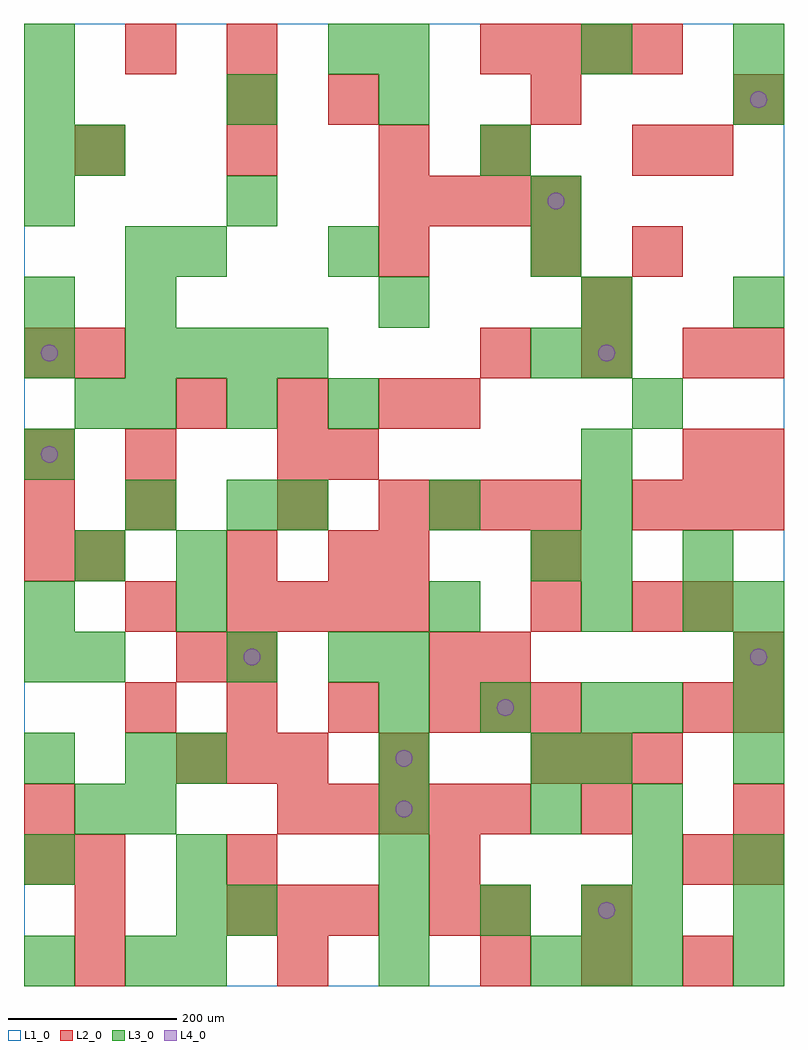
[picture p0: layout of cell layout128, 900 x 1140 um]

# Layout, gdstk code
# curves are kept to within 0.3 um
import gdstk
lib = gdstk.Library(unit=1e-6, precision=1e-09)
def R(c, l, rs):  # rectangles x0, y0, x1, y1
    for r in rs: c.add(gdstk.rectangle(r[:2], r[2:], *l))
def A(c, l, x, y, w, h, nx, ny, dx, dy):  # array of equal rectangles
    R(c, l, [(x+i*dx, y+j*dy, x+i*dx+w, y+j*dy+h) for i in range(nx) for j in range(ny)])
def P(c, l, *ps):  # polygons
    for p in ps: c.add(gdstk.Polygon(p, *l))
L1_0 = (1, 0)
L2_0 = (2, 0)
L3_0 = (3, 0)
L4_0 = (4, 0)

layout128 = lib.new_cell('layout128')
R(layout128, L1_0, [(0,0,900,1140)])
A(layout128, L2_0, 60, 0, 60, 60, 3, 1, 240, 0)
A(layout128, L2_0, 240, 60, 60, 60, 3, 1, 60, 0)
A(layout128, L2_0, 300, 180, 60, 60, 5, 1, 60, 0)
A(layout128, L2_0, 180, 240, 60, 60, 3, 1, 60, 0)
A(layout128, L2_0, 600, 240, 60, 60, 3, 1, 60, 0)
A(layout128, L2_0, 120, 300, 60, 60, 4, 1, 120, 0)
A(layout128, L2_0, 240, 420, 60, 60, 4, 1, 60, 0)
A(layout128, L2_0, 0, 480, 60, 60, 1, 3, 0, 60)
A(layout128, L2_0, 420, 540, 60, 60, 4, 2, 60, 360)
A(layout128, L2_0, 720, 540, 60, 60, 3, 1, 60, 0)
A(layout128, L2_0, 180, 660, 60, 60, 3, 1, 120, 0)
A(layout128, L2_0, 540, 720, 60, 60, 3, 1, 120, 0)
A(layout128, L2_0, 60, 960, 60, 60, 3, 1, 180, 0)
A(layout128, L2_0, 360, 1020, 60, 60, 3, 1, 240, 0)
A(layout128, L2_0, 540, 1080, 60, 60, 4, 1, 60, 0)
R(layout128, L2_0, [(660,0,720,60), (780,0,840,60), (60,60,120,120), (480,60,540,120), (540,60,600,120), (660,60,720,120), (0,120,60,180), (60,120,120,180), (240,120,300,180), (480,120,540,180), (780,120,840,180), (840,120,900,180), (0,180,60,240), (660,180,720,240), (840,180,900,240), (420,240,480,300), (540,300,600,360), (600,300,660,360), (780,300,840,360), (840,300,900,360), (180,360,240,420), (240,360,300,420), (480,360,540,420), (540,360,600,420), (840,360,900,420), (120,420,180,480), (600,420,660,480), (720,420,780,480), (780,420,840,480), (60,480,120,540), (240,480,300,540), (360,480,420,540), (420,480,480,540), (600,480,660,540), (120,540,180,600), (300,540,360,600), (120,600,180,660), (300,600,360,660), (360,600,420,660), (780,600,840,660), (840,600,900,660), (480,660,540,720), (0,720,60,780), (60,720,120,780), (840,720,900,780), (660,780,720,840), (420,840,480,900), (600,840,660,900), (720,840,780,900), (540,960,600,1020), (720,960,780,1020), (780,960,840,1020), (240,1020,300,1080), (120,1080,180,1140), (240,1080,300,1140)])
A(layout128, L3_0, 0, 0, 60, 60, 1, 4, 0, 120)
A(layout128, L3_0, 180, 0, 60, 60, 1, 3, 0, 60)
A(layout128, L3_0, 600, 0, 60, 60, 3, 1, 60, 0)
A(layout128, L3_0, 840, 0, 60, 60, 1, 3, 0, 60)
A(layout128, L3_0, 420, 60, 60, 60, 3, 2, 120, 240)
A(layout128, L3_0, 720, 60, 60, 60, 1, 3, 0, 60)
A(layout128, L3_0, 420, 120, 60, 60, 1, 3, 0, 60)
A(layout128, L3_0, 600, 240, 60, 60, 1, 3, 0, 240)
A(layout128, L3_0, 840, 240, 60, 60, 1, 4, 0, 60)
A(layout128, L3_0, 660, 480, 60, 60, 1, 3, 0, 120)
A(layout128, L3_0, 300, 540, 60, 60, 3, 1, 180, 0)
A(layout128, L3_0, 120, 660, 60, 60, 3, 1, 120, 0)
A(layout128, L3_0, 120, 720, 60, 60, 4, 1, 60, 0)
A(layout128, L3_0, 0, 900, 60, 60, 1, 4, 0, 60)
R(layout128, L3_0, [(120,0,180,60), (420,0,480,60), (240,60,300,120), (60,180,120,240), (120,180,180,240), (600,180,660,240), (120,240,180,300), (180,240,240,300), (660,240,720,300), (720,300,780,360), (60,360,120,420), (240,360,300,420), (360,360,420,420), (420,360,480,420), (0,420,60,480), (180,420,240,480), (480,420,540,480), (660,420,720,480), (780,420,840,480), (60,480,120,540), (180,480,240,540), (780,480,840,540), (120,540,180,600), (240,540,300,600), (0,600,60,660), (60,660,120,720), (720,660,780,720), (0,720,60,780), (0,780,60,840), (120,780,180,840), (420,780,480,840), (660,780,720,840), (840,780,900,840), (120,840,180,900), (180,840,240,900), (360,840,420,900), (600,840,660,900), (240,900,300,960), (600,900,660,960), (60,960,120,1020), (540,960,600,1020), (240,1020,300,1080), (420,1020,480,1080), (840,1020,900,1080), (360,1080,420,1140), (420,1080,480,1140), (660,1080,720,1140), (840,1080,900,1140)])
P(layout128, L4_0, [(40,630),(39.239,633.827),(37.071,637.071),(33.827,639.239),(30,640),(26.173,639.239),(22.929,637.071),(20.761,633.827),(20,630),(20.761,626.173),(22.929,622.929),(26.173,620.761),(30,620),(33.827,620.761),(37.071,622.929),(39.239,626.173)],
  [(40,750),(39.239,753.827),(37.071,757.071),(33.827,759.239),(30,760),(26.173,759.239),(22.929,757.071),(20.761,753.827),(20,750),(20.761,746.173),(22.929,742.929),(26.173,740.761),(30,740),(33.827,740.761),(37.071,742.929),(39.239,746.173)],
  [(280,390),(279.239,393.827),(277.071,397.071),(273.827,399.239),(270,400),(266.173,399.239),(262.929,397.071),(260.761,393.827),(260,390),(260.761,386.173),(262.929,382.929),(266.173,380.761),(270,380),(273.827,380.761),(277.071,382.929),(279.239,386.173)],
  [(460,210),(459.239,213.827),(457.071,217.071),(453.827,219.239),(450,220),(446.173,219.239),(442.929,217.071),(440.761,213.827),(440,210),(440.761,206.173),(442.929,202.929),(446.173,200.761),(450,200),(453.827,200.761),(457.071,202.929),(459.239,206.173)],
  [(460,270),(459.239,273.827),(457.071,277.071),(453.827,279.239),(450,280),(446.173,279.239),(442.929,277.071),(440.761,273.827),(440,270),(440.761,266.173),(442.929,262.929),(446.173,260.761),(450,260),(453.827,260.761),(457.071,262.929),(459.239,266.173)],
  [(580,330),(579.239,333.827),(577.071,337.071),(573.827,339.239),(570,340),(566.173,339.239),(562.929,337.071),(560.761,333.827),(560,330),(560.761,326.173),(562.929,322.929),(566.173,320.761),(570,320),(573.827,320.761),(577.071,322.929),(579.239,326.173)],
  [(640,930),(639.239,933.827),(637.071,937.071),(633.827,939.239),(630,940),(626.173,939.239),(622.929,937.071),(620.761,933.827),(620,930),(620.761,926.173),(622.929,922.929),(626.173,920.761),(630,920),(633.827,920.761),(637.071,922.929),(639.239,926.173)],
  [(700,90),(699.239,93.827),(697.071,97.071),(693.827,99.239),(690,100),(686.173,99.239),(682.929,97.071),(680.761,93.827),(680,90),(680.761,86.173),(682.929,82.929),(686.173,80.761),(690,80),(693.827,80.761),(697.071,82.929),(699.239,86.173)],
  [(700,750),(699.239,753.827),(697.071,757.071),(693.827,759.239),(690,760),(686.173,759.239),(682.929,757.071),(680.761,753.827),(680,750),(680.761,746.173),(682.929,742.929),(686.173,740.761),(690,740),(693.827,740.761),(697.071,742.929),(699.239,746.173)],
  [(880,390),(879.239,393.827),(877.071,397.071),(873.827,399.239),(870,400),(866.173,399.239),(862.929,397.071),(860.761,393.827),(860,390),(860.761,386.173),(862.929,382.929),(866.173,380.761),(870,380),(873.827,380.761),(877.071,382.929),(879.239,386.173)],
  [(880,1050),(879.239,1053.827),(877.071,1057.071),(873.827,1059.239),(870,1060),(866.173,1059.239),(862.929,1057.071),(860.761,1053.827),(860,1050),(860.761,1046.173),(862.929,1042.929),(866.173,1040.761),(870,1040),(873.827,1040.761),(877.071,1042.929),(879.239,1046.173)])

lib.write_gds('layout128.gds')
